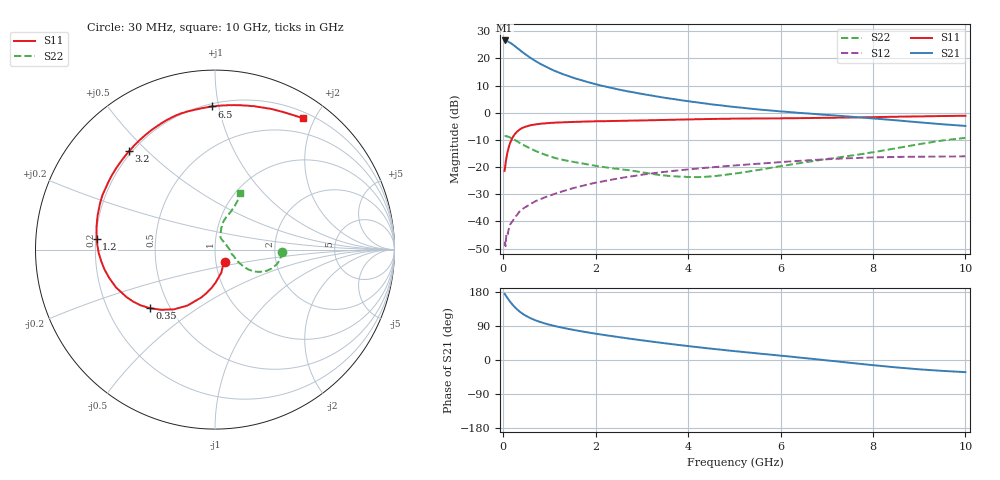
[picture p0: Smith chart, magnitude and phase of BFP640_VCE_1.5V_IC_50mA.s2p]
! Infineon Technologies  Discrete & RF Semiconductors
! BFP640
! VCE =  1.5 V,  IC =  50 mA
! Common Emitter S-Parameters:  Apr 2013
# GHz  S  MA  R  50
!  f  S11  S21  S12  S22
! GHz  MAG  ANG  MAG  ANG  MAG  ANG  MAG  ANG
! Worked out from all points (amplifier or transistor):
!   99 points, 30 MHz to 10 GHz, reference 50 ohm
!   highest |S21| = 26.6 dB at 30 MHz (marker M1)
!   |S21| within 3 dB of that: start of sweep to 319.6 MHz
!   unconditionally stable (mu >= 1): start of sweep to end of sweep
!   at 350 MHz: K = 1.58, MAG = 25.3 dB, |S12| = -36.4 dB
!   at 3.5 GHz: K = 1.52, MAG = 9.4 dB, |S12| = -21.7 dB
!   at 10 GHz: K = 1.44, MAG = 1.7 dB, |S12| = -16.0 dB
!   S11 on the Smith chart (normalised r, x): 30 MHz: 1.10, -0.15; 350 MHz: 0.39, -0.33; 1.2 GHz: 0.20, +0.04; 3.2 GHz: 0.19, +0.44; 6.5 GHz: 0.22, +0.95; 10 GHz: 0.28, +1.84
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0.03  0.0853 -51.2  21.41 174.8  0.0037 31.5  0.3707 -1.7
0.08  0.1648 -84.9  20.83 165.7  0.0055 45.7  0.3661 -7.5
0.12  0.2324 -98.8  20.1 158.6  0.0073 54.6  0.3586 -11.5
0.15  0.2791 -106.3  19.39 153.7  0.0088 58.8  0.3491 -14.5
0.2  0.3481 -116.3  18.16 146.1  0.01 56.5  0.3333 -18.4
0.25  0.4038 -124.5  16.89 139.5  0.0118 58.7  0.3158 -21.5
0.35  0.4868 -137.8  14.47 128.3  0.0151 57.7  0.2803 -26.2
0.4  0.5176 -143.1  13.34 123.7  0.0163 58.0  0.2653 -27.8
0.5  0.5595 -151.8  11.59 116.0  0.0187 58.2  0.2391 -29.7
0.6  0.5901 -159.0  10.09 109.8  0.0211 57.2  0.2167 -30.8
0.7  0.6099 -164.9  8.924 104.6  0.0236 57.3  0.198 -30.8
0.9  0.6374 -174.3  7.208 96.5  0.0277 57.2  0.1696 -29.8
1.2  0.6615 174.9  5.513 87.3  0.034 57.1  0.1415 -27.3
1.7  0.6846 161.2  3.956 75.5  0.0448 55.5  0.117 -21.1
2.3  0.7027 148.1  2.916 63.9  0.0576 51.9  0.0967 -14.3
3.2  0.7273 131.2  2.079 48.8  0.076 44.8  0.0752 7.2
3.4  0.7344 127.8  1.946 45.7  0.0799 43.2  0.0709 13.7
5.1  0.7799 104.9  1.252 22.3  0.1085 29.2  0.0777 67.2
6.5  0.7977 91.3  0.982 5.3  0.1318 17.4  0.1213 73.4
6.7  0.8009 89.1  0.954 2.9  0.1349 15.5  0.1287 73.6
8.5  0.8446 68.0  0.726 -19.5  0.1536 -1.9  0.2218 67.9
10  0.8807 56.2  0.572 -32.0  0.1576 -12.3  0.3443 66.2
